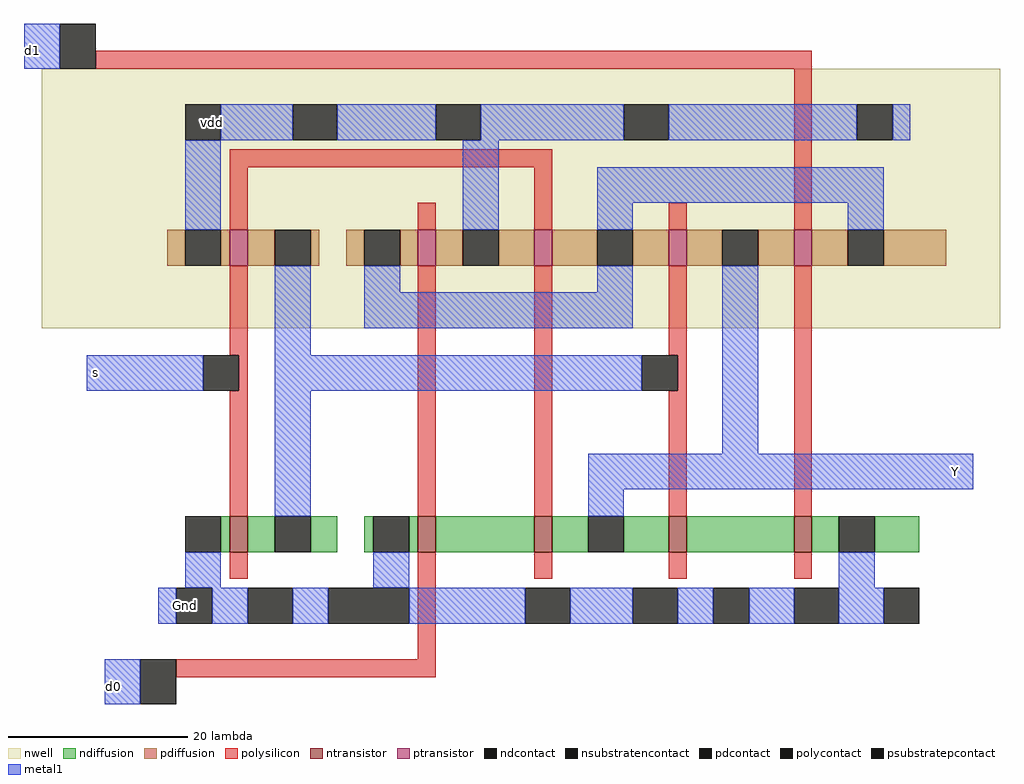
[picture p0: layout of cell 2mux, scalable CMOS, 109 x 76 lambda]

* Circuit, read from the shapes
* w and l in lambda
.subckt 2mux Gnd Vdd Y d0 d1 s
M1 n1 s Gnd Gnd nfet w=4 l=2
M2 n2 d0 Gnd Gnd nfet w=4 l=2
M3 Y s n2 Gnd nfet w=4 l=2
M4 n3 n1 Y Gnd nfet w=4 l=2
M5 Gnd d1 n3 Gnd nfet w=4 l=2
M6 n1 s Vdd Vdd pfet w=4 l=2
M7 Vdd d0 n4 Vdd pfet w=4 l=2
M8 n4 s Vdd Vdd pfet w=4 l=2
M9 Y n1 n4 Vdd pfet w=4 l=2
M10 n4 d1 Y Vdd pfet w=4 l=2
.ends

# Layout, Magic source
magic
tech scmos
<< nwell >>
rect -66 -4 41 25
<< ntransistor >>
rect -45 -29 -43 -25
rect -24 -29 -22 -25
rect -11 -29 -9 -25
rect 4 -29 6 -25
rect 18 -29 20 -25
<< ptransistor >>
rect -45 3 -43 7
rect -24 3 -22 7
rect -11 3 -9 7
rect 4 3 6 7
rect 18 3 20 7
<< ndiffusion >>
rect -46 -29 -45 -25
rect -43 -29 -40 -25
rect -36 -29 -33 -25
rect -30 -29 -29 -25
rect -25 -29 -24 -25
rect -22 -29 -11 -25
rect -9 -29 -5 -25
rect -1 -29 4 -25
rect 6 -29 18 -25
rect 20 -29 23 -25
rect 27 -29 32 -25
<< pdiffusion >>
rect -52 3 -50 7
rect -46 3 -45 7
rect -43 3 -40 7
rect -36 3 -35 7
rect -32 3 -30 7
rect -26 3 -24 7
rect -22 3 -19 7
rect -15 3 -11 7
rect -9 3 -4 7
rect 0 3 4 7
rect 6 3 10 7
rect 14 3 18 7
rect 20 3 24 7
rect 28 3 35 7
<< ndcontact >>
rect -50 -29 -46 -25
rect -40 -29 -36 -25
rect -29 -29 -25 -25
rect -5 -29 -1 -25
rect 23 -29 27 -25
<< pdcontact >>
rect -50 3 -46 7
rect -40 3 -36 7
rect -30 3 -26 7
rect -19 3 -15 7
rect -4 3 0 7
rect 10 3 14 7
rect 24 3 28 7
<< psubstratepcontact >>
rect -51 -37 -47 -33
rect -43 -37 -38 -33
rect -34 -37 -25 -33
rect -12 -37 -7 -33
rect 0 -37 5 -33
rect 9 -37 13 -33
rect 18 -37 23 -33
rect 28 -37 32 -33
<< nsubstratencontact >>
rect -50 17 -46 21
rect -38 17 -33 21
rect -22 17 -17 21
rect -1 17 4 21
rect 25 17 29 21
<< polysilicon >>
rect -60 25 20 27
rect -45 14 -9 16
rect -45 7 -43 14
rect -24 7 -22 10
rect -11 7 -9 14
rect 4 7 6 10
rect 18 7 20 25
rect -45 -7 -43 3
rect -44 -11 -43 -7
rect -45 -25 -43 -11
rect -24 -25 -22 3
rect -11 -25 -9 3
rect 4 -7 6 3
rect 5 -11 6 -7
rect 4 -25 6 -11
rect 18 -25 20 3
rect -45 -32 -43 -29
rect -24 -41 -22 -29
rect -11 -32 -9 -29
rect 4 -32 6 -29
rect 18 -32 20 -29
rect -51 -43 -22 -41
<< polycontact >>
rect -64 25 -60 30
rect -48 -11 -44 -7
rect 1 -11 5 -7
rect -55 -46 -51 -41
<< metal1 >>
rect -68 25 -64 30
rect -46 17 -38 21
rect -33 17 -22 21
rect -17 17 -1 21
rect 4 17 25 21
rect 29 17 31 21
rect -50 7 -46 17
rect -19 7 -15 17
rect -40 -7 -36 3
rect -4 10 28 14
rect -4 7 0 10
rect 24 7 28 10
rect -30 0 -26 3
rect -4 0 0 3
rect -30 -4 0 0
rect -61 -11 -48 -7
rect -40 -11 1 -7
rect -40 -25 -36 -11
rect 10 -18 14 3
rect -5 -22 38 -18
rect -5 -25 -1 -22
rect -50 -33 -46 -29
rect -29 -33 -25 -29
rect 23 -33 27 -29
rect -53 -37 -51 -33
rect -47 -37 -43 -33
rect -38 -37 -34 -33
rect -25 -37 -12 -33
rect -7 -37 0 -33
rect 5 -37 9 -33
rect 13 -37 18 -33
rect 23 -37 28 -33
rect -59 -46 -55 -41
<< labels >>
rlabel metal1 -60 -9 -60 -9 1 s
rlabel metal1 -58 -44 -58 -44 1 d0
rlabel metal1 -67 27 -67 27 4 d1
rlabel nsubstratencontact -47 19 -47 19 1 vdd
rlabel nsubstratencontact -47 19 -47 19 1 Vdd
rlabel psubstratepcontact -50 -35 -50 -35 1 Gnd
rlabel metal1 36 -20 36 -20 7 Y
<< end >>
